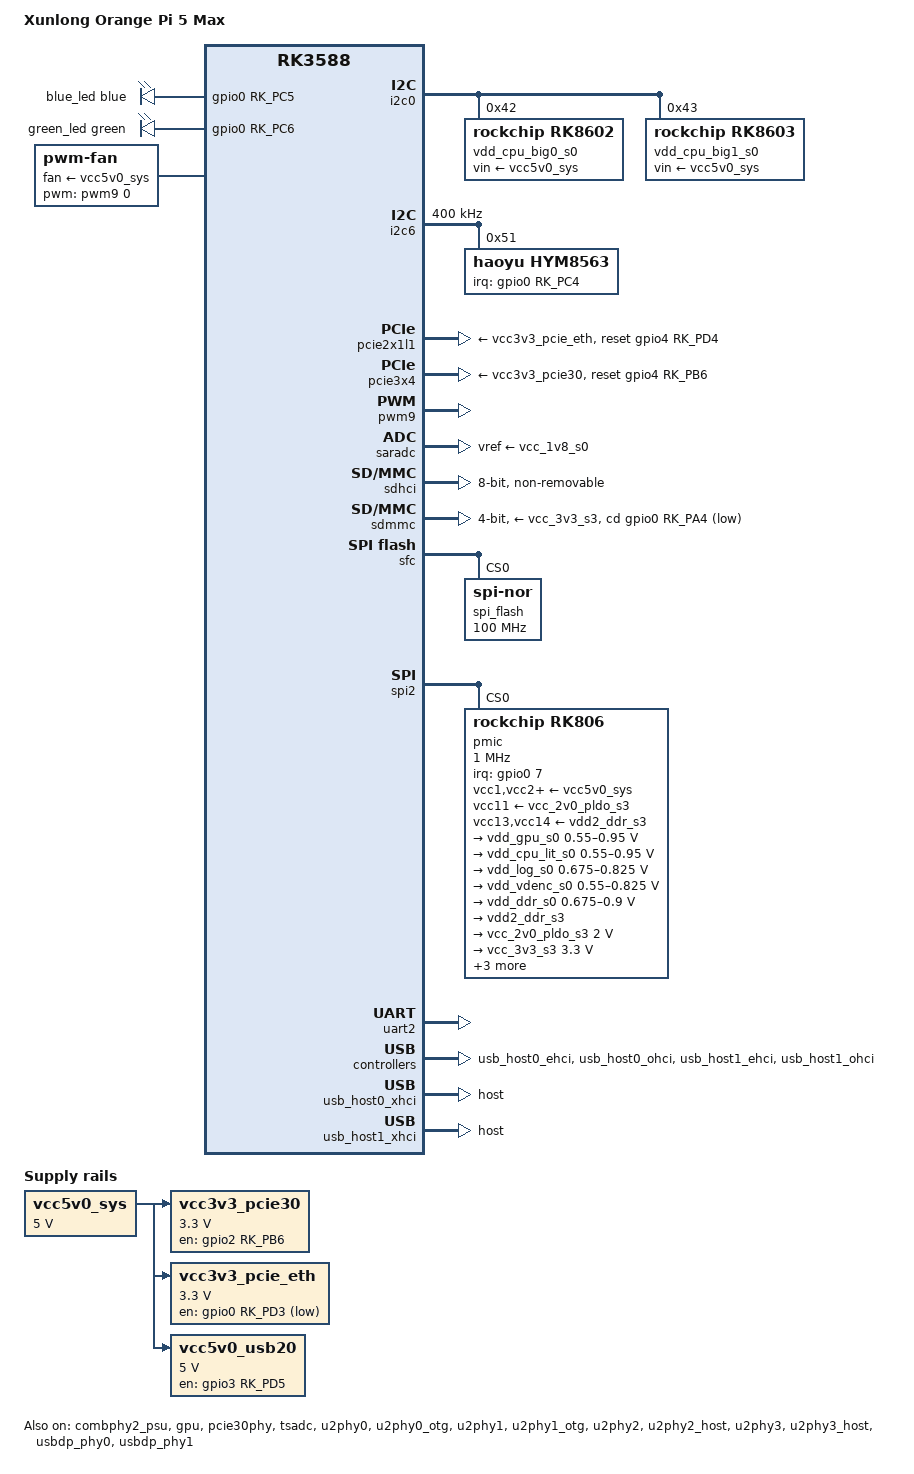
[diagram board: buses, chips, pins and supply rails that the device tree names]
// SPDX-License-Identifier: (GPL-2.0+ OR MIT)

/dts-v1/;

#include <dt-bindings/gpio/gpio.h>
#include <dt-bindings/leds/common.h>
#include <dt-bindings/pinctrl/rockchip.h>
#include "rk3588.dtsi"

/ {
	model = "Xunlong Orange Pi 5 Max";
	compatible = "xunlong,orangepi-5-max", "rockchip,rk3588";

	aliases {
		mmc0 = &sdhci;
		mmc1 = &sdmmc;
	};

	chosen {
		stdout-path = "serial2:1500000n8";
	};

	gpio-leds {
		compatible = "gpio-leds";
		pinctrl-names = "default";
		pinctrl-0 = <&leds_rgb>;

		blue_led {
			color = <LED_COLOR_ID_BLUE>;
			function = LED_FUNCTION_STATUS;
			gpios = <&gpio0 RK_PC5 GPIO_ACTIVE_HIGH>;
			linux,default-trigger = "heartbeat";
		};

		green_led {
			color = <LED_COLOR_ID_GREEN>;
			function = LED_FUNCTION_STATUS;
			gpios = <&gpio0 RK_PC6 GPIO_ACTIVE_HIGH>;
			linux,default-trigger = "heartbeat";
		};
	};

	fan: pwm-fan {
		compatible = "pwm-fan";
		cooling-levels = <0 70 75 80 100>;
		fan-supply = <&vcc5v0_sys>;
		pwms = <&pwm9 0 50000 0>;
		#cooling-cells = <2>;
	};

	vcc3v3_pcie30: vcc3v3-pcie30-regulator {
		compatible = "regulator-fixed";
		enable-active-high;
		gpios = <&gpio2 RK_PB6 GPIO_ACTIVE_HIGH>;
		regulator-name = "vcc3v3_pcie30";
		regulator-min-microvolt = <3300000>;
		regulator-max-microvolt = <3300000>;
		startup-delay-us = <5000>;
		vin-supply = <&vcc5v0_sys>;
	};

	vcc3v3_pcie_eth: vcc3v3-pcie-eth-regulator {
		compatible = "regulator-fixed";
		gpios = <&gpio0 RK_PD3 GPIO_ACTIVE_LOW>;
		regulator-name = "vcc3v3_pcie_eth";
		regulator-min-microvolt = <3300000>;
		regulator-max-microvolt = <3300000>;
		startup-delay-us = <50000>;
		vin-supply = <&vcc5v0_sys>;
	};

	vcc5v0_sys: vcc5v0-sys-regulator {
		compatible = "regulator-fixed";
		regulator-name = "vcc5v0_sys";
		regulator-always-on;
		regulator-boot-on;
		regulator-min-microvolt = <5000000>;
		regulator-max-microvolt = <5000000>;
	};

	vcc5v0_usb20: vcc5v0-usb20-regulator {
		compatible = "regulator-fixed";
		enable-active-high;
		gpios = <&gpio3 RK_PD5 GPIO_ACTIVE_HIGH>;
		pinctrl-names = "default";
		pinctrl-0 = <&vcc5v0_usb20_en>;
		regulator-name = "vcc5v0_usb20";
		regulator-always-on;
		regulator-boot-on;
		regulator-min-microvolt = <5000000>;
		regulator-max-microvolt = <5000000>;
		vin-supply = <&vcc5v0_sys>;
	};
};

&combphy2_psu {
	status = "okay";
};

&cpu_b0 {
	cpu-supply = <&vdd_cpu_big0_s0>;
};

&cpu_b1 {
	cpu-supply = <&vdd_cpu_big0_s0>;
};

&cpu_b2 {
	cpu-supply = <&vdd_cpu_big1_s0>;
};

&cpu_b3 {
	cpu-supply = <&vdd_cpu_big1_s0>;
};

&cpu_l0 {
	cpu-supply = <&vdd_cpu_lit_s0>;
};

&cpu_l1 {
	cpu-supply = <&vdd_cpu_lit_s0>;
};

&cpu_l2 {
	cpu-supply = <&vdd_cpu_lit_s0>;
};

&cpu_l3 {
	cpu-supply = <&vdd_cpu_lit_s0>;
};

&gpu {
	mali-supply = <&vdd_gpu_s0>;
	status = "okay";
};

&i2c0 {
	pinctrl-names = "default";
	pinctrl-0 = <&i2c0m2_xfer>;
	status = "okay";

	vdd_cpu_big0_s0: regulator@42 {
		compatible = "rockchip,rk8602";
		reg = <0x42>;
		fcs,suspend-voltage-selector = <1>;
		regulator-name = "vdd_cpu_big0_s0";
		regulator-always-on;
		regulator-boot-on;
		regulator-min-microvolt = <550000>;
		regulator-max-microvolt = <1050000>;
		regulator-ramp-delay = <2300>;
		vin-supply = <&vcc5v0_sys>;

		regulator-state-mem {
			regulator-off-in-suspend;
		};
	};

	vdd_cpu_big1_s0: regulator@43 {
		compatible = "rockchip,rk8603", "rockchip,rk8602";
		reg = <0x43>;
		fcs,suspend-voltage-selector = <1>;
		regulator-name = "vdd_cpu_big1_s0";
		regulator-always-on;
		regulator-boot-on;
		regulator-min-microvolt = <550000>;
		regulator-max-microvolt = <1050000>;
		regulator-ramp-delay = <2300>;
		vin-supply = <&vcc5v0_sys>;

		regulator-state-mem {
			regulator-off-in-suspend;
		};
	};
};

&i2c6 {
	clock-frequency = <400000>;
	status = "okay";

	hym8563: rtc@51 {
		compatible = "haoyu,hym8563";
		reg = <0x51>;
		interrupt-parent = <&gpio0>;
		interrupts = <RK_PC4 IRQ_TYPE_LEVEL_LOW>;
		#clock-cells = <0>;
		clock-output-names = "hym8563";
		pinctrl-names = "default";
		pinctrl-0 = <&hym8563_int>;
		wakeup-source;
	};
};

/* phy2 */
&pcie2x1l1 {
	reset-gpios = <&gpio4 RK_PD4 GPIO_ACTIVE_HIGH>;
	vpcie3v3-supply = <&vcc3v3_pcie_eth>;
	status = "okay";
};

&pcie30phy {
	status = "okay";
};

&pcie3x4 {
	reset-gpios = <&gpio4 RK_PB6 GPIO_ACTIVE_HIGH>;
	vpcie3v3-supply = <&vcc3v3_pcie30>;
	status = "okay";
};

&pinctrl {
	hym8563 {
		hym8563_int: hym8563-int {
			rockchip,pins = <0 RK_PC4 RK_FUNC_GPIO &pcfg_pull_none>;
		};
	};

	leds {
		leds_rgb: leds_rgb {
			rockchip,pins = <0 RK_PC5 RK_FUNC_GPIO &pcfg_pull_up>,
				<0 RK_PC6 RK_FUNC_GPIO &pcfg_pull_up>;
		};
	};

	usb {
		vcc5v0_usb20_en: vcc5v0-usb20-en {
			rockchip,pins = <3 RK_PD5 RK_FUNC_GPIO &pcfg_pull_none>;
		};
	};
};

&pwm9 {
	pinctrl-names = "active";
	pinctrl-0 = <&pwm9m2_pins>;
	status = "okay";
};

&saradc {
	vref-supply = <&vcc_1v8_s0>;
	status = "okay";
};

&sdhci {
	bus-width = <8>;
	no-sdio;
	no-sd;
	non-removable;
	max-frequency = <200000000>;
	mmc-hs400-1_8v;
	mmc-hs400-enhanced-strobe;
	status = "okay";
};

&sdmmc {
	bus-width = <4>;
	cap-sd-highspeed;
	cd-gpios = <&gpio0 RK_PA4 GPIO_ACTIVE_LOW>;
	disable-wp;
	max-frequency = <150000000>;
	no-sdio;
	no-mmc;
	sd-uhs-sdr104;
	vmmc-supply = <&vcc_3v3_s3>;
	vqmmc-supply = <&vccio_sd_s0>;
	status = "okay";
};

&sfc {
	pinctrl-names = "default";
	pinctrl-0 = <&fspim2_pins>;
	status = "okay";

	spi_flash: flash@0 {
		compatible = "jedec,spi-nor";
		reg = <0x0>;
		spi-max-frequency = <100000000>;
		spi-rx-bus-width = <4>;
		spi-tx-bus-width = <1>;
	};
};

&spi2 {
	assigned-clocks = <&cru CLK_SPI2>;
	assigned-clock-rates = <200000000>;
	num-cs = <1>;
	pinctrl-names = "default";
	pinctrl-0 = <&spi2m2_cs0 &spi2m2_pins>;
	status = "okay";

	pmic@0 {
		compatible = "rockchip,rk806";
		reg = <0x0>;
		interrupt-parent = <&gpio0>;
		interrupts = <7 IRQ_TYPE_LEVEL_LOW>;
		pinctrl-names = "default";
		pinctrl-0 = <&pmic_pins>, <&rk806_dvs1_null>,
			    <&rk806_dvs2_null>, <&rk806_dvs3_null>;
		spi-max-frequency = <1000000>;
		system-power-controller;

		vcc1-supply = <&vcc5v0_sys>;
		vcc2-supply = <&vcc5v0_sys>;
		vcc3-supply = <&vcc5v0_sys>;
		vcc4-supply = <&vcc5v0_sys>;
		vcc5-supply = <&vcc5v0_sys>;
		vcc6-supply = <&vcc5v0_sys>;
		vcc7-supply = <&vcc5v0_sys>;
		vcc8-supply = <&vcc5v0_sys>;
		vcc9-supply = <&vcc5v0_sys>;
		vcc10-supply = <&vcc5v0_sys>;
		vcc11-supply = <&vcc_2v0_pldo_s3>;
		vcc12-supply = <&vcc5v0_sys>;
		vcc13-supply = <&vdd2_ddr_s3>;
		vcc14-supply = <&vdd2_ddr_s3>;
		vcca-supply = <&vcc5v0_sys>;

		gpio-controller;
		#gpio-cells = <2>;

		rk806_dvs1_null: dvs1-null-pins {
			pins = "gpio_pwrctrl1";
			function = "pin_fun0";
		};

		rk806_dvs2_null: dvs2-null-pins {
			pins = "gpio_pwrctrl2";
			function = "pin_fun0";
		};

		rk806_dvs3_null: dvs3-null-pins {
			pins = "gpio_pwrctrl3";
			function = "pin_fun0";
		};

		regulators {
			vdd_gpu_s0: dcdc-reg1 {
				regulator-name = "vdd_gpu_s0";
				regulator-boot-on;
				regulator-enable-ramp-delay = <400>;
				regulator-min-microvolt = <550000>;
				regulator-max-microvolt = <950000>;
				regulator-ramp-delay = <12500>;

				regulator-state-mem {
					regulator-off-in-suspend;
				};
			};

			vdd_cpu_lit_s0: dcdc-reg2 {
				regulator-name = "vdd_cpu_lit_s0";
				regulator-always-on;
				regulator-boot-on;
				regulator-min-microvolt = <550000>;
				regulator-max-microvolt = <950000>;
				regulator-ramp-delay = <12500>;

				regulator-state-mem {
					regulator-off-in-suspend;
				};
			};

			vdd_log_s0: dcdc-reg3 {
				regulator-name = "vdd_log_s0";
				regulator-always-on;
				regulator-boot-on;
				regulator-min-microvolt = <675000>;
				regulator-max-microvolt = <825000>;
				regulator-ramp-delay = <12500>;

				regulator-state-mem {
					regulator-off-in-suspend;
					regulator-suspend-microvolt = <750000>;
				};
			};

			vdd_vdenc_s0: dcdc-reg4 {
				regulator-name = "vdd_vdenc_s0";
				regulator-always-on;
				regulator-boot-on;
				regulator-min-microvolt = <550000>;
				regulator-max-microvolt = <825000>;
				regulator-ramp-delay = <12500>;

				regulator-state-mem {
					regulator-off-in-suspend;
				};
			};

			vdd_ddr_s0: dcdc-reg5 {
				regulator-name = "vdd_ddr_s0";
				regulator-always-on;
				regulator-boot-on;
				regulator-min-microvolt = <675000>;
				regulator-max-microvolt = <900000>;
				regulator-ramp-delay = <12500>;

				regulator-state-mem {
					regulator-off-in-suspend;
					regulator-suspend-microvolt = <850000>;
				};
			};

			vdd2_ddr_s3: dcdc-reg6 {
				regulator-name = "vdd2_ddr_s3";
				regulator-always-on;
				regulator-boot-on;

				regulator-state-mem {
					regulator-on-in-suspend;
				};
			};

			vcc_2v0_pldo_s3: dcdc-reg7 {
				regulator-name = "vdd_2v0_pldo_s3";
				regulator-always-on;
				regulator-boot-on;
				regulator-min-microvolt = <2000000>;
				regulator-max-microvolt = <2000000>;
				regulator-ramp-delay = <12500>;

				regulator-state-mem {
					regulator-on-in-suspend;
					regulator-suspend-microvolt = <2000000>;
				};
			};

			vcc_3v3_s3: dcdc-reg8 {
				regulator-name = "vcc_3v3_s3";
				regulator-always-on;
				regulator-boot-on;
				regulator-min-microvolt = <3300000>;
				regulator-max-microvolt = <3300000>;

				regulator-state-mem {
					regulator-on-in-suspend;
					regulator-suspend-microvolt = <3300000>;
				};
			};

			vddq_ddr_s0: dcdc-reg9 {
				regulator-name = "vddq_ddr_s0";
				regulator-always-on;
				regulator-boot-on;

				regulator-state-mem {
					regulator-off-in-suspend;
				};
			};

			vcc_1v8_s3: dcdc-reg10 {
				regulator-name = "vcc_1v8_s3";
				regulator-always-on;
				regulator-boot-on;
				regulator-min-microvolt = <1800000>;
				regulator-max-microvolt = <1800000>;

				regulator-state-mem {
					regulator-on-in-suspend;
					regulator-suspend-microvolt = <1800000>;
				};
			};

			avcc_1v8_s0: pldo-reg1 {
				regulator-name = "avcc_1v8_s0";
				regulator-always-on;
				regulator-boot-on;
				regulator-min-microvolt = <1800000>;
				regulator-max-microvolt = <1800000>;

				regulator-state-mem {
					regulator-off-in-suspend;
					regulator-suspend-microvolt = <1800000>;
				};
			};

			/* shorted to avcc_1v8_s0 on the board */
			vcc_1v8_s0: pldo-reg2 {
				regulator-name = "vcc_1v8_s0";
				regulator-always-on;
				regulator-boot-on;
				regulator-min-microvolt = <1800000>;
				regulator-max-microvolt = <1800000>;

				regulator-state-mem {
					regulator-off-in-suspend;
					regulator-suspend-microvolt = <1800000>;
				};
			};

			avdd_1v2_s0: pldo-reg3 {
				regulator-name = "avdd_1v2_s0";
				regulator-always-on;
				regulator-boot-on;
				regulator-min-microvolt = <1200000>;
				regulator-max-microvolt = <1200000>;

				regulator-state-mem {
					regulator-off-in-suspend;
				};
			};

			vcc_3v3_s0: pldo-reg4 {
				regulator-name = "vcc_3v3_s0";
				regulator-always-on;
				regulator-boot-on;
				regulator-min-microvolt = <3300000>;
				regulator-max-microvolt = <3300000>;
				regulator-ramp-delay = <12500>;

				regulator-state-mem {
					regulator-off-in-suspend;
				};
			};

			vccio_sd_s0: pldo-reg5 {
				regulator-name = "vccio_sd_s0";
				regulator-always-on;
				regulator-boot-on;
				regulator-min-microvolt = <1800000>;
				regulator-max-microvolt = <3300000>;
				regulator-ramp-delay = <12500>;

				regulator-state-mem {
					regulator-off-in-suspend;
				};
			};

			pldo6_s3: pldo-reg6 {
				regulator-name = "pldo6_s3";
				regulator-always-on;
				regulator-boot-on;
				regulator-min-microvolt = <1800000>;
				regulator-max-microvolt = <1800000>;

				regulator-state-mem {
					regulator-on-in-suspend;
					regulator-suspend-microvolt = <1800000>;
				};
			};

			vdd_0v75_s3: nldo-reg1 {
				regulator-name = "vdd_0v75_s3";
				regulator-always-on;
				regulator-boot-on;
				regulator-min-microvolt = <750000>;
				regulator-max-microvolt = <750000>;

				regulator-state-mem {
					regulator-on-in-suspend;
					regulator-suspend-microvolt = <750000>;
				};
			};

			vdd_ddr_pll_s0: nldo-reg2 {
				regulator-name = "vdd_ddr_pll_s0";
				regulator-always-on;
				regulator-boot-on;
				regulator-min-microvolt = <850000>;
				regulator-max-microvolt = <850000>;

				regulator-state-mem {
					regulator-off-in-suspend;
					regulator-suspend-microvolt = <850000>;
				};
			};

			avdd_0v75_s0: nldo-reg3 {
				regulator-name = "avdd_0v75_s0";
				regulator-always-on;
				regulator-boot-on;
				/*
				 * The schematic mentions that actual setting
				 * should be 0.8375V. RK3588 datasheet specifies
				 * maximum as 0.825V. So we set datasheet max
				 * here.
				 */
				regulator-min-microvolt = <825000>;
				regulator-max-microvolt = <825000>;

				regulator-state-mem {
					regulator-off-in-suspend;
				};
			};

			vdd_0v85_s0: nldo-reg4 {
				regulator-name = "vdd_0v85_s0";
				regulator-always-on;
				regulator-boot-on;
				regulator-min-microvolt = <850000>;
				regulator-max-microvolt = <850000>;

				regulator-state-mem {
					regulator-off-in-suspend;
				};
			};

			vdd_0v75_s0: nldo-reg5 {
				regulator-name = "vdd_0v75_s0";
				regulator-always-on;
				regulator-boot-on;
				regulator-min-microvolt = <750000>;
				regulator-max-microvolt = <750000>;

				regulator-state-mem {
					regulator-off-in-suspend;
				};
			};
		};
	};
};

&tsadc {
	status = "okay";
};

&u2phy0 {
	status = "okay";
};

&u2phy0_otg {
	status = "okay";
};

&u2phy1 {
	status = "okay";
};

&u2phy1_otg {
	status = "okay";
};

&u2phy2 {
	status = "okay";
};

&u2phy2_host {
	status = "okay";
};

&u2phy3 {
	status = "okay";
};

&u2phy3_host {
	status = "okay";
};

&uart2 {
	pinctrl-0 = <&uart2m0_xfer>;
	status = "okay";
};

&usbdp_phy0 {
	status = "okay";
};

&usbdp_phy1 {
	status = "okay";
};

&usb_host0_ehci {
	status = "okay";
};

&usb_host0_ohci {
	status = "okay";
};

&usb_host0_xhci {
	dr_mode = "host";
	status = "okay";
};

&usb_host1_ehci {
	status = "okay";
};

&usb_host1_ohci {
	status = "okay";
};

&usb_host1_xhci {
	dr_mode = "host";
	status = "okay";
};
